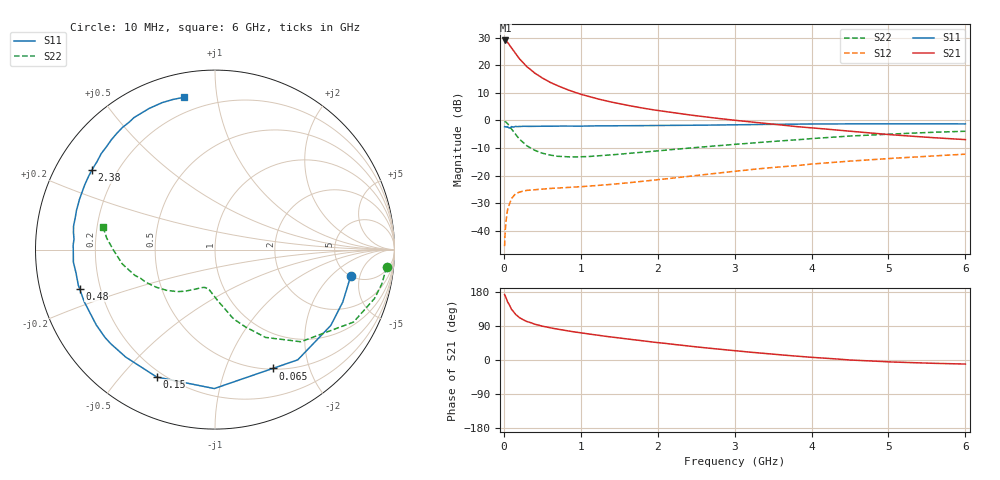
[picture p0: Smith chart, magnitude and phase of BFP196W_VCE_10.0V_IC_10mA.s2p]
! Infineon Technologies  Discrete & RF Semiconductors
! BFP196W
! VCE = 10.0V,  IC =  10mA
! Common Emitter S-Parameters:  Jan 2016
# GHz  S  MA  R  50
!  f  S11  S21  S12  S22
! GHz  MAG  ANG  MAG  ANG  MAG  ANG  MAG  ANG
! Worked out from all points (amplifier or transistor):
!   210 points, 10 MHz to 6 GHz, reference 50 ohm
!   highest |S21| = 29.0 dB at 20 MHz (marker M1)
!   |S21| within 3 dB of that: start of sweep to 108.9 MHz
!   unconditionally stable (mu >= 1): 1.242 GHz to 3.378 GHz
!   at 185 MHz: K = 0.21, MSG = 24.6 dB, |S12| = -26.2 dB
!   at 1.52 GHz: K = 1.11, MAG = 12.4 dB, |S12| = -22.8 dB
!   at 6 GHz: K = 0.92, MSG = 2.6 dB, |S12| = -12.2 dB
!   S11 on the Smith chart (normalised r, x): 10 MHz: 4.98, -3.63; 65 MHz: 0.51, -1.47; 150 MHz: 0.17, -0.63; 480 MHz: 0.12, -0.14; 2.38 GHz: 0.11, +0.29; 6 GHz: 0.12, +0.81
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0.01  0.7702 -11.1  27.95 172.6  0.0053 78.2  0.9612 -5.8
0.02  0.7695 -22.3  28.05 168.6  0.0109 78.2  0.949 -11.6
0.03  0.7713 -33.2  27.52 163.3  0.0157 72.6  0.9292 -17.1
0.05  0.768 -53.1  25.89 152.9  0.0247 64.5  0.8712 -27.6
0.065  0.7361 -64.1  24.06 148.0  0.0286 58.0  0.8115 -32.5
0.1  0.7743 -90.3  20.67 133.5  0.0386 48.3  0.702 -47.0
0.15  0.7806 -114.6  16.45 120.6  0.0467 38.0  0.5643 -60.1
0.2  0.7785 -129.7  13.22 112.1  0.0504 32.2  0.463 -68.5
0.26  0.7844 -141.4  10.72 105.4  0.0529 28.3  0.3896 -75.8
0.3  0.7835 -147.6  9.374 101.5  0.0542 26.6  0.347 -79.3
0.4  0.7843 -158.2  7.224 94.5  0.0558 24.3  0.289 -86.4
0.48  0.7856 -163.9  6.131 90.4  0.0572 24.0  0.2619 -90.5
0.6  0.7852 -170.5  4.908 84.9  0.0587 24.2  0.2365 -95.5
0.7  0.7921 -174.9  4.253 81.2  0.0596 25.3  0.2245 -98.6
1.02  0.789 175.2  2.928 71.2  0.0634 29.2  0.2202 -106.9
1.4  0.7999 166.1  2.149 60.5  0.0697 34.9  0.2384 -114.1
2.02  0.8105 153.6  1.501 45.5  0.0852 42.7  0.2829 -125.2
2.38  0.8166 147.1  1.277 37.3  0.0964 45.5  0.3135 -131.7
3.1  0.8368 135.0  0.976 22.7  0.1242 46.9  0.3785 -145.5
4.1  0.8631 120.2  0.716 5.8  0.1666 43.6  0.4789 -164.2
5.1  0.8694 109.0  0.544 -5.5  0.2082 37.3  0.5717 179.2
6  0.8657 101.4  0.45 -10.7  0.2451 31.1  0.6376 168.4
